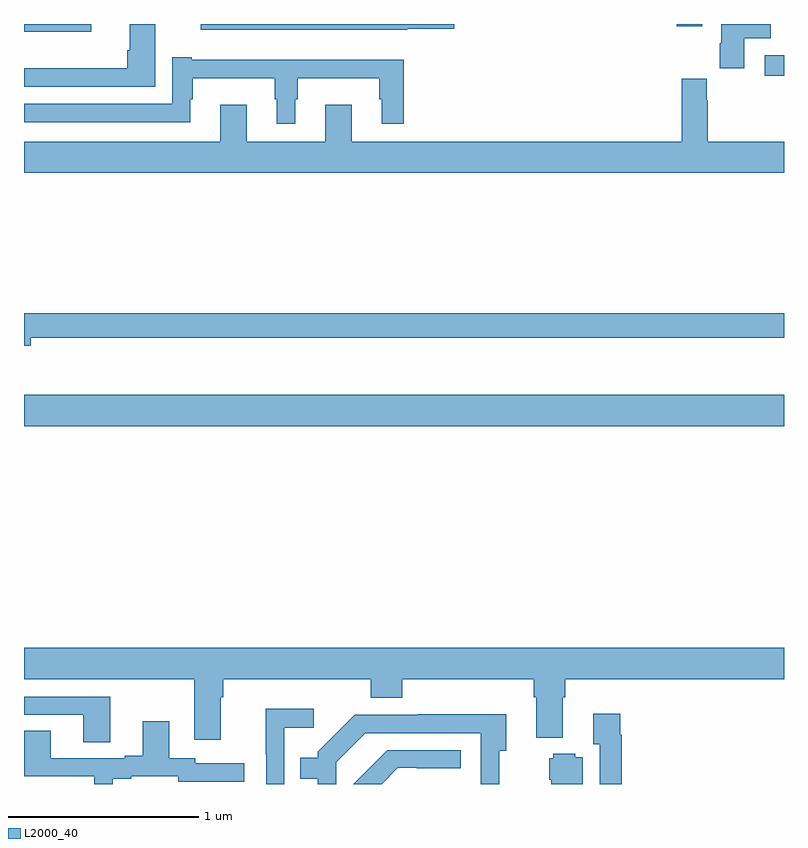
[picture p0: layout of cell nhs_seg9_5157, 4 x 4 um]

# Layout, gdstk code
import gdstk
lib = gdstk.Library(unit=1e-6, precision=1e-09)
def R(c, l, rs):  # rectangles x0, y0, x1, y1
    for r in rs: c.add(gdstk.rectangle(r[:2], r[2:], *l))
def P(c, l, *ps):  # polygons
    for p in ps: c.add(gdstk.Polygon(p, *l))
L2000_40 = (2000, 40)

nhs_seg9_5157 = lib.new_cell('nhs_seg9_5157')
R(nhs_seg9_5157, L2000_40, [(409,1232.384,413,1232.548), (412.899,1234.227,413,1234.335), (409,1234.46,409.354,1234.5), (412.436,1234.488,412.57,1234.5)])
P(nhs_seg9_5157, L2000_40, [(412.792,1234.424),(412.931,1234.424),(412.931,1234.5),(412.67,1234.5),(412.67,1234.4),(412.661,1234.4),(412.661,1234.266),(412.792,1234.266)],
  [(411.018,1234.475),(411.265,1234.475),(411.265,1234.5),(409.929,1234.5),(409.929,1234.469),(411.018,1234.469)],
  [(409.69,1234.5),(409.556,1234.5),(409.556,1234.363),(409.544,1234.363),(409.544,1234.268),(409,1234.268),(409,1234.17),(409.69,1234.17)],
  [(410.428,1234.103),(410.44,1234.103),(410.44,1234.214),(410.871,1234.214),(410.871,1234.103),(410.882,1234.103),(410.882,1233.975),(410.999,1233.975),(410.999,1234.312),(409.882,1234.312),(409.882,1234.324),(409.779,1234.324),(409.779,1234.08),(409,1234.08),(409,1233.984),(409.876,1233.984),(409.876,1234.103),(409.888,1234.103),(409.888,1234.214),(410.319,1234.214),(410.319,1234.103),(410.33,1234.103),(410.33,1233.975),(410.428,1233.975)],
  [(413,1233.88),(412.598,1233.88),(412.598,1234.1),(412.594,1234.1),(412.594,1234.213),(412.462,1234.213),(412.462,1233.88),(410.725,1233.88),(410.725,1234.075),(410.585,1234.075),(410.585,1233.88),(410.173,1233.88),(410.173,1234.075),(410.033,1234.075),(410.033,1233.88),(409,1233.88),(409,1233.716),(413,1233.716)],
  [(409.036,1232.85),(413,1232.85),(413,1232.978),(409,1232.978),(409,1232.807),(409.036,1232.807)],
  [(410.035,1230.956),(410.048,1230.956),(410.048,1231.052),(410.825,1231.052),(410.825,1230.953),(410.99,1230.953),(410.99,1231.052),(411.683,1231.052),(411.683,1230.956),(411.695,1230.956),(411.695,1230.743),(411.835,1230.743),(411.835,1230.956),(411.848,1230.956),(411.848,1231.052),(413,1231.052),(413,1231.216),(409,1231.216),(409,1231.052),(409.895,1231.052),(409.895,1230.732),(410.035,1230.732)],
  [(409.453,1230.96),(409,1230.96),(409,1230.864),(409.313,1230.864),(409.313,1230.721),(409.453,1230.721)],
  [(410.37,1230.797),(410.524,1230.797),(410.524,1230.895),(410.272,1230.895),(410.272,1230.656),(410.274,1230.656),(410.274,1230.5),(410.37,1230.5)],
  [(412.145,1230.758),(412.138,1230.758),(412.138,1230.871),(411.995,1230.871),(411.995,1230.71),(412.029,1230.71),(412.029,1230.5),(412.145,1230.5)],
  [(410.643,1230.615),(410.796,1230.768),(411.405,1230.768),(411.405,1230.5),(411.501,1230.5),(411.501,1230.674),(411.538,1230.674),(411.538,1230.866),(411.073,1230.866),(411.073,1230.864),(410.742,1230.864),(410.547,1230.669),(410.547,1230.637),(410.455,1230.637),(410.455,1230.528),(410.546,1230.528),(410.546,1230.5),(410.643,1230.5)],
  [(409.468,1230.528),(409.564,1230.528),(409.564,1230.54),(409.812,1230.54),(409.812,1230.513),(410.158,1230.513),(410.158,1230.609),(409.902,1230.609),(409.902,1230.636),(409.765,1230.636),(409.765,1230.829),(409.625,1230.829),(409.625,1230.649),(409.529,1230.649),(409.529,1230.636),(409.141,1230.636),(409.141,1230.779),(409.001,1230.779),(409.001,1230.54),(409.371,1230.54),(409.371,1230.5),(409.468,1230.5)],
  [(410.967,1230.585),(411.067,1230.585),(411.067,1230.582),(411.298,1230.582),(411.298,1230.678),(410.912,1230.678),(410.734,1230.5),(410.882,1230.5)],
  [(411.94,1230.64),(411.9,1230.64),(411.9,1230.658),(411.786,1230.658),(411.786,1230.636),(411.764,1230.636),(411.764,1230.522),(411.776,1230.522),(411.776,1230.5),(411.94,1230.5)])

lib.write_gds('nhs_seg9_5157.gds')
